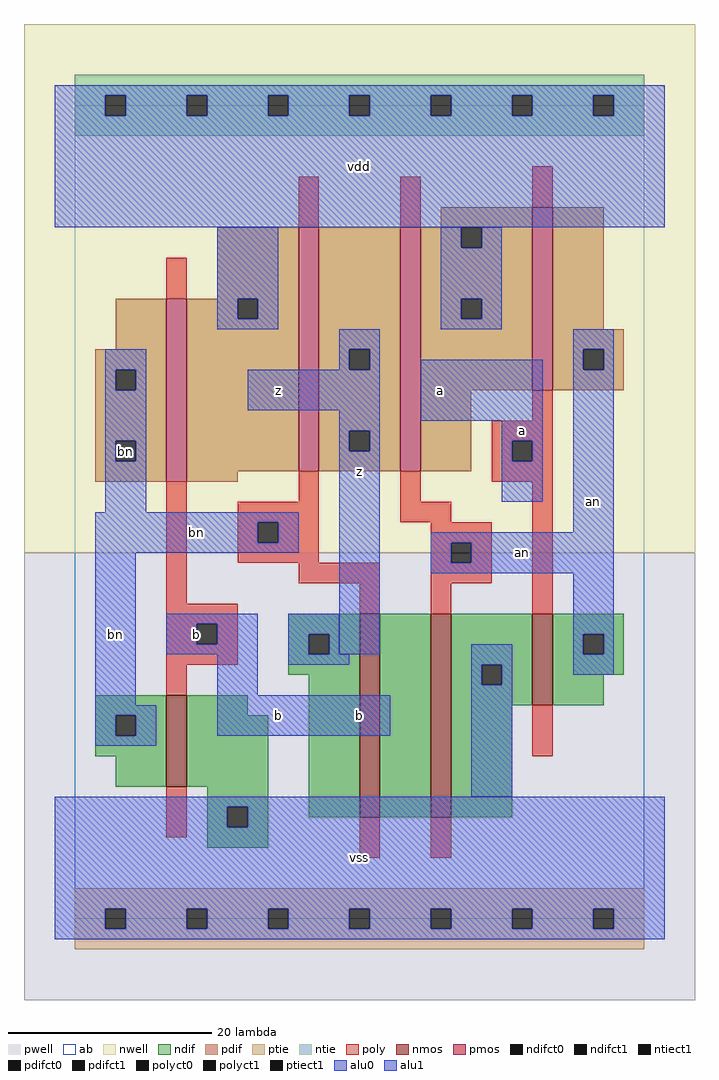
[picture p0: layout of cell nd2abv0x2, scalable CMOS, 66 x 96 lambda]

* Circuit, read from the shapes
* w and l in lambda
.subckt nd2abv0x2 a an b bn vdd vss z
M1 vss b bn vss nfet w=9 l=2
M2 n1 bn z vss nfet w=20 l=2
M3 vss an n1 vss nfet w=20 l=2
M4 an a vss vss nfet w=9 l=2
M5 vdd b bn vdd pfet w=18 l=2
M6 z bn vdd vdd pfet w=24 l=2
M7 vdd an z vdd pfet w=24 l=2
M8 an a vdd vdd pfet w=18 l=2
.ends

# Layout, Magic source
magic
tech scmos
<< ab >>
rect 0 0 56 80
<< nwell >>
rect -5 36 61 88
<< pwell >>
rect -5 -8 61 36
<< poly >>
rect 22 68 24 73
rect 32 68 34 73
rect 45 70 47 74
rect 9 61 11 65
rect 45 49 47 52
rect 41 47 47 49
rect 41 45 43 47
rect 45 45 47 47
rect 9 31 11 43
rect 22 41 24 44
rect 16 39 24 41
rect 32 41 34 44
rect 41 43 47 45
rect 32 39 37 41
rect 16 37 18 39
rect 20 37 24 39
rect 16 35 24 37
rect 35 37 41 39
rect 35 35 37 37
rect 39 35 41 37
rect 22 33 30 35
rect 9 29 16 31
rect 28 30 30 33
rect 35 33 41 35
rect 35 30 37 33
rect 45 30 47 43
rect 9 27 12 29
rect 14 27 16 29
rect 9 25 16 27
rect 9 22 11 25
rect 9 8 11 13
rect 45 16 47 21
rect 28 6 30 10
rect 35 6 37 10
<< ndif >>
rect 21 28 28 30
rect 21 26 23 28
rect 25 26 28 28
rect 21 24 28 26
rect 2 20 9 22
rect 2 18 4 20
rect 6 18 9 20
rect 2 16 9 18
rect 4 13 9 16
rect 11 20 17 22
rect 11 13 19 20
rect 13 11 19 13
rect 13 9 15 11
rect 17 9 19 11
rect 23 10 28 24
rect 30 10 35 30
rect 37 25 45 30
rect 37 23 40 25
rect 42 23 45 25
rect 37 21 45 23
rect 47 28 54 30
rect 47 26 50 28
rect 52 26 54 28
rect 47 24 54 26
rect 47 21 52 24
rect 37 10 43 21
rect 13 7 19 9
<< pdif >>
rect 36 68 45 70
rect 14 61 22 68
rect 4 56 9 61
rect 2 54 9 56
rect 2 52 4 54
rect 6 52 9 54
rect 2 47 9 52
rect 2 45 4 47
rect 6 45 9 47
rect 2 43 9 45
rect 11 59 16 61
rect 18 59 22 61
rect 11 44 22 59
rect 24 56 32 68
rect 24 54 27 56
rect 29 54 32 56
rect 24 48 32 54
rect 24 46 27 48
rect 29 46 32 48
rect 24 44 32 46
rect 34 66 38 68
rect 40 66 45 68
rect 34 61 45 66
rect 34 59 38 61
rect 40 59 45 61
rect 34 52 45 59
rect 47 58 52 70
rect 47 56 54 58
rect 47 54 50 56
rect 52 54 54 56
rect 47 52 54 54
rect 34 44 39 52
rect 11 43 16 44
<< alu1 >>
rect -2 81 58 82
rect -2 79 3 81
rect 5 79 11 81
rect 13 79 19 81
rect 21 79 27 81
rect 29 79 35 81
rect 37 79 43 81
rect 45 79 51 81
rect 53 79 58 81
rect -2 68 58 79
rect 26 56 30 58
rect 26 54 27 56
rect 29 54 30 56
rect 17 50 30 54
rect 26 48 30 50
rect 34 49 46 55
rect 26 46 27 48
rect 29 46 30 48
rect 9 29 18 30
rect 9 27 12 29
rect 14 27 18 29
rect 9 26 18 27
rect 14 22 18 26
rect 26 26 30 46
rect 42 47 46 49
rect 42 45 43 47
rect 45 45 46 47
rect 42 41 46 45
rect 14 18 31 22
rect -2 11 58 12
rect -2 9 15 11
rect 17 9 58 11
rect -2 1 58 9
rect -2 -1 3 1
rect 5 -1 11 1
rect 13 -1 19 1
rect 21 -1 27 1
rect 29 -1 35 1
rect 37 -1 43 1
rect 45 -1 51 1
rect 53 -1 58 1
rect -2 -2 58 -1
<< ptie >>
rect 0 1 56 3
rect 0 -1 3 1
rect 5 -1 11 1
rect 13 -1 19 1
rect 21 -1 27 1
rect 29 -1 35 1
rect 37 -1 43 1
rect 45 -1 51 1
rect 53 -1 56 1
rect 0 -3 56 -1
<< ntie >>
rect 0 81 56 83
rect 0 79 3 81
rect 5 79 11 81
rect 13 79 19 81
rect 21 79 27 81
rect 29 79 35 81
rect 37 79 43 81
rect 45 79 51 81
rect 53 79 56 81
rect 0 77 56 79
<< nmos >>
rect 9 13 11 22
rect 28 10 30 30
rect 35 10 37 30
rect 45 21 47 30
<< pmos >>
rect 9 43 11 61
rect 22 44 24 68
rect 32 44 34 68
rect 45 52 47 70
<< polyct0 >>
rect 18 37 20 39
rect 37 35 39 37
<< polyct1 >>
rect 43 45 45 47
rect 12 27 14 29
<< ndifct0 >>
rect 23 26 25 28
rect 4 18 6 20
rect 40 23 42 25
rect 50 26 52 28
<< ndifct1 >>
rect 15 9 17 11
<< ntiect1 >>
rect 3 79 5 81
rect 11 79 13 81
rect 19 79 21 81
rect 27 79 29 81
rect 35 79 37 81
rect 43 79 45 81
rect 51 79 53 81
<< ptiect1 >>
rect 3 -1 5 1
rect 11 -1 13 1
rect 19 -1 21 1
rect 27 -1 29 1
rect 35 -1 37 1
rect 43 -1 45 1
rect 51 -1 53 1
<< pdifct0 >>
rect 4 52 6 54
rect 4 45 6 47
rect 16 59 18 61
rect 38 66 40 68
rect 38 59 40 61
rect 50 54 52 56
<< pdifct1 >>
rect 27 54 29 56
rect 27 46 29 48
<< alu0 >>
rect 14 61 20 68
rect 14 59 16 61
rect 18 59 20 61
rect 14 58 20 59
rect 36 66 38 68
rect 40 66 42 68
rect 36 61 42 66
rect 36 59 38 61
rect 40 59 42 61
rect 36 58 42 59
rect 3 54 7 56
rect 49 56 53 58
rect 3 52 4 54
rect 6 52 7 54
rect 3 47 7 52
rect 3 45 4 47
rect 6 45 7 47
rect 3 40 7 45
rect 2 39 22 40
rect 2 37 18 39
rect 20 37 22 39
rect 2 36 22 37
rect 2 21 6 36
rect 21 28 26 30
rect 21 26 23 28
rect 25 26 26 28
rect 49 54 50 56
rect 52 54 53 56
rect 49 38 53 54
rect 35 37 53 38
rect 35 35 37 37
rect 39 35 53 37
rect 35 34 53 35
rect 49 28 53 34
rect 21 25 27 26
rect 39 25 43 27
rect 39 23 40 25
rect 42 23 43 25
rect 49 26 50 28
rect 52 26 53 28
rect 49 24 53 26
rect 2 20 8 21
rect 2 18 4 20
rect 6 18 8 20
rect 2 17 8 18
rect 39 12 43 23
<< labels >>
rlabel pdifct0 5 46 5 46 6 bn
rlabel alu0 4 28 4 28 6 bn
rlabel alu0 12 38 12 38 6 bn
rlabel alu0 44 36 44 36 6 an
rlabel alu0 51 41 51 41 6 an
rlabel alu1 20 20 20 20 6 b
rlabel alu1 12 28 12 28 6 b
rlabel alu1 20 52 20 52 6 z
rlabel alu1 28 6 28 6 6 vss
rlabel alu1 28 20 28 20 6 b
rlabel alu1 28 44 28 44 6 z
rlabel alu1 36 52 36 52 6 a
rlabel alu1 28 74 28 74 6 vdd
rlabel alu1 44 48 44 48 6 a
<< end >>
